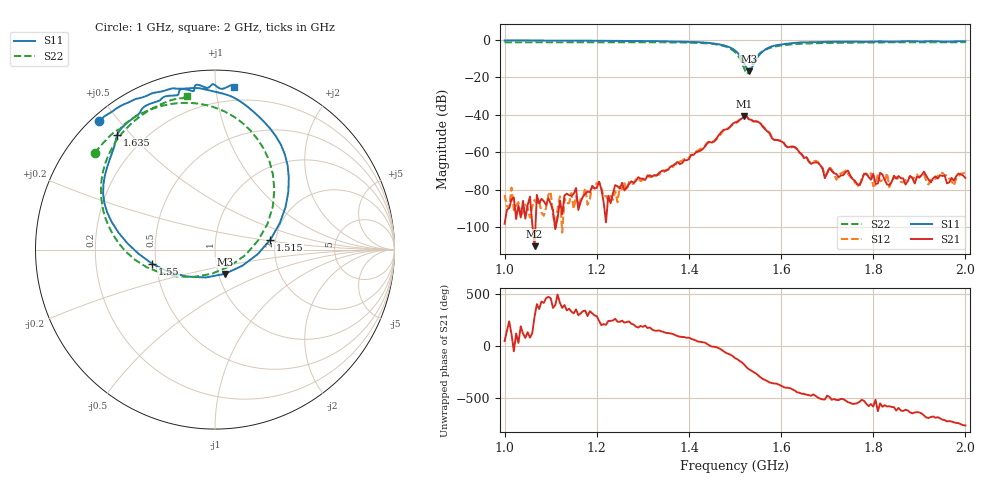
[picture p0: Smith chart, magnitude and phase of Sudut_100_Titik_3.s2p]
# Hz S RI R 50
! CMT, C1220, 16058040, 17.2.0/1
! Date: 14/08/2018 12:37:54
! Data: Format (Calibration Info)
! Freq  S11: Re/Im (F2)  S21: Re/Im (F2)  S12: Re/Im (F2)  S22: Re/Im (F2)
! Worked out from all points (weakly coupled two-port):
!   201 points, 1 GHz to 2 GHz, reference 50 ohm
!   highest |S21| = -40.79 dB at 1.52 GHz (marker M1); lowest = -110.3 dB at 1.065 GHz (marker M2)
!   lowest |S11| = -16.7 dB at 1.53 GHz (marker M3), VSWR 1.34, Z = 53.7 - j14.8 ohm
!   |S11| at or under -10 dB: 1.515 GHz to 1.547 GHz (32.32 MHz wide, 2.11 % of centre)
!   |S22| runs from -18.1 to -1.2 dB; largest |S21 - S12| = 0.00036
!   S11 on the Smith chart (normalised r, x): 1 GHz: 0.02, +0.44; 1.515 GHz: 1.87, +0.23; 1.55 GHz: 0.48, -0.09; 1.635 GHz: 0.10, +0.46; 2 GHz: 0.10, +1.12
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1e9  -0.6468 0.7145  8.19e-06 8.9e-06  9.88e-06 7.08e-05  -0.6706 0.5382
1.065e9  -0.5807 0.7642  7.42e-07 -2.97e-06  2.79e-05 4.49e-05  -0.6346 0.582
1.17e9  -0.4751 0.8234  5.93e-05 -2.53e-05  1.75e-05 -5.79e-05  -0.5591 0.6561
1.335e9  -0.2132 0.8966  -0.000241 0.000138  -0.000203 0.000143  -0.3751 0.774
1.45e9  0.1869 0.7916  0.00179 -0.000183  0.00187 -0.000244  0.0182 0.7844
1.5e9  0.4087 0.3221  -0.00289 -0.00554  -0.00275 -0.0052  0.3309 0.3336
1.515e9  0.3087 0.0556  -0.00742 -0.00285  -0.00746 -0.00303  0.2406 0.0518
1.52e9  0.2387 -0.0246  -0.00913 4.1e-05  -0.00921 -0.000104  0.1702 -0.0297
1.53e9  0.0549 -0.1352  -0.00532 0.0053  -0.00536 0.00528  -0.0174 -0.1346
1.55e9  -0.3506 -0.0784  0.00142 0.00632  0.0012 0.00631  -0.382 -0.0973
1.635e9  -0.5438 0.6413  1.5e-05 -0.00119  5.75e-07 -0.0012  -0.611 0.481
1.67e9  -0.4351 0.747  -0.000167 -0.000492  -0.000195 -0.000527  -0.5653 0.5809
1.695e9  -0.4044 0.7869  -0.000187 -7.35e-05  -0.000219 -9.29e-05  -0.5327 0.6294
1.77e9  -0.235 0.8583  -0.000133 3.22e-06  -0.000112 -6.47e-06  -0.436 0.728
1.78e9  -0.2115 0.8602  -0.000259 -3.84e-05  -0.000251 -4e-05  -0.4233 0.7379
1.805e9  -0.1964 0.8891  -0.000133 -4.67e-05  -3.62e-05 0.000128  -0.3925 0.7596
1.815e9  -0.1801 0.8948  -0.00027 7.51e-05  -0.000165 5.93e-07  -0.3806 0.7674
1.83e9  -0.1398 0.8874  -9.45e-05 9.74e-05  -0.0002 0.000189  -0.363 0.7776
1.835e9  -0.1283 0.8842  -9.63e-05 9.17e-05  -9.88e-05 5.9e-05  -0.3571 0.7814
1.95e9  0.0247 0.8989  0.000229 2.57e-05  0.000271 8.13e-05  -0.2124 0.8403
1.975e9  0.0726 0.9081  0.000163 -5.81e-05  0.000127 -1.51e-05  -0.1824 0.8431
2e9  0.1037 0.9069  0.000132 -0.000156  0.000201 -0.000206  -0.1578 0.8539
